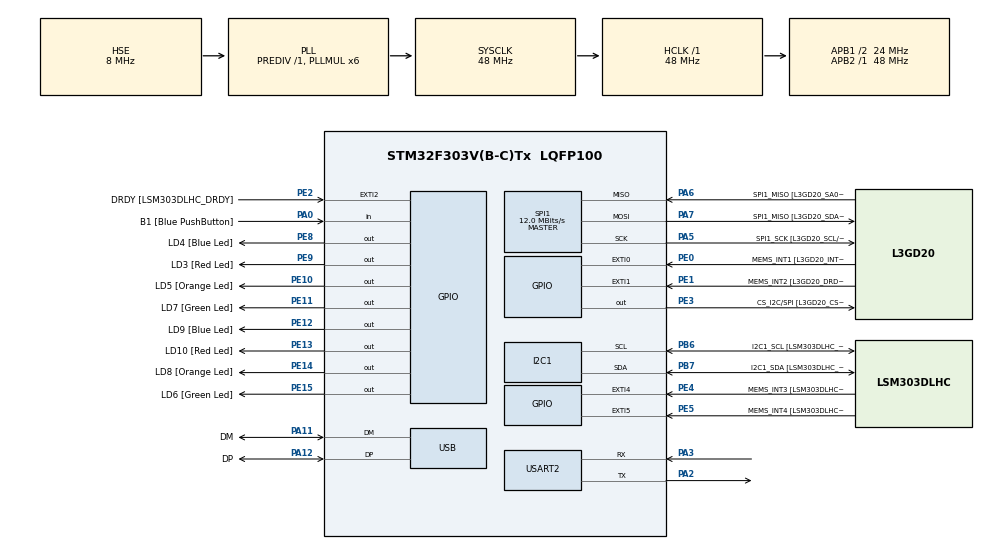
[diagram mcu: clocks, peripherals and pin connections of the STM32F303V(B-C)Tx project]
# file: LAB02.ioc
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I2C1.Timing=0x2000090E
I2C1.Timing-I2C=0x2000090E
Mcu.Family=STM32F3
Mcu.Name=STM32F303V(B-C)Tx
Mcu.Package=LQFP100
NVIC.PriorityGroup=NVIC_PRIORITYGROUP_0
PA0.GPIO_Label=B1 [Blue PushButton]
PA0.Signal=GPIO_Input
PA11.GPIO_Label=DM
PA11.Mode=Device
PA11.Signal=USB_DM
PA12.GPIO_Label=DP
PA12.Mode=Device
PA12.Signal=USB_DP
PA13.GPIO_Label=SWDIO
PA13.Mode=Serial_Wire
PA13.Signal=SYS_JTMS-SWDIO
PA14.GPIO_Label=SWCLK
PA14.Mode=Serial_Wire
PA14.Signal=SYS_JTCK-SWCLK
PA2.Mode=Asynchronous
PA2.Signal=USART2_TX
PA3.Mode=Asynchronous
PA3.Signal=USART2_RX
PA5.GPIO_Label=SPI1_SCK [L3GD20_SCL/SPC]
PA5.Mode=Full_Duplex_Master
PA5.Signal=SPI1_SCK
PA6.GPIO_Label=SPI1_MISO [L3GD20_SA0/SDO]
PA6.Mode=Full_Duplex_Master
PA6.Signal=SPI1_MISO
PA7.GPIO_Label=SPI1_MISO [L3GD20_SDA/SDI/SDO]
PA7.Mode=Full_Duplex_Master
PA7.Signal=SPI1_MOSI
PB3.GPIO_Label=SWO
PB3.Signal=SYS_JTDO-TRACESWO
PB6.GPIO_Label=I2C1_SCL [LSM303DLHC_SCL]
PB6.GPIO_Pu=GPIO_PULLUP
PB6.Mode=I2C
PB6.Signal=I2C1_SCL
PB7.GPIO_Label=I2C1_SDA [LSM303DLHC_SDA]
PB7.GPIO_Pu=GPIO_PULLUP
PB7.Mode=I2C
PB7.Signal=I2C1_SDA
PC14-OSC32_IN.GPIO_Label=OSC32_IN
PC14-OSC32_IN.Signal=RCC_OSC32_IN
PC15-OSC32_OUT.GPIO_Label=OSC32_OUT
PC15-OSC32_OUT.Signal=RCC_OSC32_OUT
PE0.GPIO_Label=MEMS_INT1 [L3GD20_INT1]
PE0.GPIO_ModeDefaultEXTI=GPIO_MODE_EVT_RISING
PE0.Signal=GPXTI0
PE1.GPIO_Label=MEMS_INT2 [L3GD20_DRDY/INT2]
PE1.GPIO_ModeDefaultEXTI=GPIO_MODE_EVT_RISING
PE1.Signal=GPXTI1
PE10.GPIO_Label=LD5 [Orange Led]
PE10.Signal=GPIO_Output
PE11.GPIO_Label=LD7 [Green Led]
PE11.Signal=GPIO_Output
PE12.GPIO_Label=LD9 [Blue Led]
PE12.Signal=GPIO_Output
PE13.GPIO_Label=LD10 [Red Led]
PE13.Signal=GPIO_Output
PE14.GPIO_Label=LD8 [Orange Led]
PE14.Signal=GPIO_Output
PE15.GPIO_Label=LD6 [Green Led]
PE15.Signal=GPIO_Output
PE2.GPIO_Label=DRDY [LSM303DLHC_DRDY]
PE2.GPIO_ModeDefaultEXTI=GPIO_MODE_EVT_RISING
PE2.Signal=GPXTI2
PE3.GPIO_Label=CS_I2C/SPI [L3GD20_CS_I2C/SPI]
PE3.Signal=GPIO_Output
PE4.GPIO_Label=MEMS_INT3 [LSM303DLHC_INT1]
PE4.GPIO_ModeDefaultEXTI=GPIO_MODE_EVT_RISING
PE4.Signal=GPXTI4
PE5.GPIO_Label=MEMS_INT4 [LSM303DLHC_INT2]
PE5.GPIO_ModeDefaultEXTI=GPIO_MODE_EVT_RISING
PE5.Signal=GPXTI5
PE8.GPIO_Label=LD4 [Blue Led]
PE8.Signal=GPIO_Output
PE9.GPIO_Label=LD3 [Red Led]
PE9.Signal=GPIO_Output
PF0-OSC_IN.GPIO_Label=OSC_IN
PF0-OSC_IN.Mode=HSE-External-Clock-Source
PF0-OSC_IN.Signal=RCC_OSC_IN
PF1-OSC_OUT.GPIO_Label=OSC_OUT
PF1-OSC_OUT.Signal=RCC_OSC_OUT
ProjectManager.HeapSize=0x200
ProjectManager.StackSize=0x400
ProjectManager.TargetToolchain=CMake
RCC.AHBFreq_Value=48000000
RCC.APB1CLKDivider=RCC_HCLK_DIV2
RCC.APB1Freq_Value=24000000
RCC.APB1TimFreq_Value=48000000
RCC.APB2Freq_Value=48000000
RCC.APB2TimFreq_Value=48000000
RCC.CortexFreq_Value=48000000
RCC.HCLKFreq_Value=48000000
RCC.HSE_VALUE=8000000
RCC.HSI_VALUE=8000000
RCC.LSE_VALUE=32768
RCC.PLLMUL=RCC_PLL_MUL6
RCC.SYSCLKFreq_VALUE=48000000
RCC.SYSCLKSourceVirtual=RCC_SYSCLKSOURCE_PLLCLK
RCC.USBFreq_Value=48000000
SPI1.BaudRatePrescaler=SPI_BAUDRATEPRESCALER_4
SPI1.BaudRatePrescaler-Full_Duplex_Master=SPI_BAUDRATEPRESCALER_2
SPI1.CalculateBaudRate=12.0 MBits/s
SPI1.CalculateBaudRate-Full_Duplex_Master=24.0 MBits/s
SPI1.Direction=SPI_DIRECTION_2LINES
SPI1.Mode=SPI_MODE_MASTER
SPI1.Mode-Full_Duplex_Master=SPI_MODE_MASTER
SPI1.VirtualType=VM_MASTER
USART2.VirtualMode-Asynchronous=VM_ASYNC
board=STM32F3DISCOVERY

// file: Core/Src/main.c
/* USER CODE BEGIN Header */
/**
  ******************************************************************************
  * @file           : main.c
  * @brief          : Main program body
  ******************************************************************************
  * @attention
  *
  * Copyright (c) 2026 STMicroelectronics.
  * All rights reserved.
  *
  * This software is licensed under terms that can be found in the LICENSE file
  * in the root directory of this software component.
  * If no LICENSE file comes with this software, it is provided AS-IS.
  *
  ******************************************************************************
  */
/* USER CODE END Header */
#include "main.h"
#include <math.h>
#include <stdint.h>
#include <sys/types.h>
#include "stdarg.h"
#include "stdio.h"
#include "stm32f3xx_hal.h"
#include "string.h"

I2C_HandleTypeDef hi2c1;

SPI_HandleTypeDef hspi1;

UART_HandleTypeDef huart2;

PCD_HandleTypeDef hpcd_USB_FS;

void SystemClock_Config(void);
static void MX_GPIO_Init(void);
static void MX_I2C1_Init(void);
static void MX_SPI1_Init(void);
static void MX_USART2_UART_Init(void);
static void MX_USB_PCD_Init(void);
/* USER CODE BEGIN PFP */
void myPrintf(const char *fmt, ...);
/* USER CODE END PFP */

int main(void)
{

  /* MCU Configuration--------------------------------------------------------*           /

  /* Reset of all peripherals, Initializes the Flash interface and the Systick. */
HAL_Init();

  /* Configure the system clock */
  SystemClock_Config();

  /* Initialize all configured peripherals */
  MX_GPIO_Init();
  MX_I2C1_Init();
  MX_SPI1_Init();
  MX_USART2_UART_Init();
  MX_USB_PCD_Init();

  /* Infinite loop */
  while (1)
  {
    /* USER CODE BEGIN 3 */
    // TASK 0: //
    // uint8_t TXData[] = "Hello World\r\n";
    // uint32_t Delay = 100;
    // HAL_UART_Transmit(&huart2,TXData, sizeof(TXData), Delay);
    // HAL_Delay(Delay);
    /* TASK 01*/
    // int x = 42;
    // float y = 3.14;
    // myPrintf("Value of x = %d, y = %.2f\r\n", x, y);
    /* TASK 02*/
    // uint32_t a = 2;
    // uint32_t b = 3;
    // uint32_t LHS = (a + b) * (a + b);
    // uint32_t RHS = (a*a) + 2*a*b + (b*b);
    // myPrintf("a = %d, b = %d\r\n", a, b);
    // myPrintf("LHS: %d\r\n", LHS);
    // myPrintf("RHS: %d\r\n", RHS);
    // if (LHS == RHS){
    //   myPrintf("Identity Verified: Yes \r\n");
    // }else{
    //   myPrintf("Identity Verified: No \r\n");
    // }
    /*TASK 03*/
    // char str[] = "Microcontrollers";
    // u_int64_t key = 10171;

    // for (uint8_t i = 0; i < sizeof(str); i++) str[i] += (key % 256);
    // myPrintf("Encrypted: ");
    // for (uint8_t i = 0; i < sizeof(str); i++) myPrintf("%c ", str[i]);
    // myPrintf("\n\r");
    // for (uint8_t i = 0; i < sizeof(str); i++) str[i] -= (key % 256);
    // myPrintf("Decrypted: %s\r\n", str);
    /*TASK 4*/
    // int mat_A[2][2] = {{1, 2}, {3, 4}};
    // int mat_B[2][2] = {{5, 6}, {7, 8}};
    // int mat_C[2][2] = {{0, 0}, {0, 0}};
    // for (int i = 0; i < 2; i++){
    //   for (int j = 0; j < 2; j++){
    //     for (int k = 0; k < 2; k++){
    //       mat_C[i][j] += mat_A[i][k] * mat_B[k][j];
    //     }
    //   }
    // }
    // myPrintf("Matrix A: \n\r");

    // for (int i = 0; i < 2; i++){
    //   for (int j = 0; j < 2; j++){
    //     myPrintf("%d ", mat_A[i][j]);
    //   }
    //   myPrintf("\n\r");
    // }
    // myPrintf("Matrix B: \n\r");
    // for (int i = 0; i < 2; i++){
    //   for (int j = 0; j < 2; j++){
    //     myPrintf("%d ", mat_B[i][j]);
    //   }
    //   myPrintf("\n\r");
    // }
    // myPrintf("Matrix C: \n\r");
    // for (int i = 0; i < 2; i++){
    //   for (int j = 0; j < 2; j++){
    //     myPrintf("%d ", mat_C[i][j]);
    //   }
    //   myPrintf("\n\r");
    // }
    /*TASK 5*/
    for (uint32_t i = 100; i < 1000; i++) {
      uint32_t hundred_val = i/100;
      uint32_t ten_val = (i%100)/10;
      uint32_t unit_val = (i%100)%10;
      if (i == (pow(hundred_val, 3) + pow(ten_val, 3) + pow(unit_val, 3))){
        myPrintf("%d\n\r", i);
      }
    }
    //l++;
  }
  /* USER CODE END 3 */
}

void SystemClock_Config(void)
{
  RCC_OscInitTypeDef RCC_OscInitStruct = {0};
  RCC_ClkInitTypeDef RCC_ClkInitStruct = {0};
  RCC_PeriphCLKInitTypeDef PeriphClkInit = {0};

  /** Initializes the RCC Oscillators according to the specified parameters
  * in the RCC_OscInitTypeDef structure.
  */
  RCC_OscInitStruct.OscillatorType = RCC_OSCILLATORTYPE_HSI|RCC_OSCILLATORTYPE_HSE;
  RCC_OscInitStruct.HSEState = RCC_HSE_BYPASS;
  RCC_OscInitStruct.HSEPredivValue = RCC_HSE_PREDIV_DIV1;
  RCC_OscInitStruct.HSIState = RCC_HSI_ON;
  RCC_OscInitStruct.HSICalibrationValue = RCC_HSICALIBRATION_DEFAULT;
  RCC_OscInitStruct.PLL.PLLState = RCC_PLL_ON;
  RCC_OscInitStruct.PLL.PLLSource = RCC_PLLSOURCE_HSE;
  RCC_OscInitStruct.PLL.PLLMUL = RCC_PLL_MUL6;
  if (HAL_RCC_OscConfig(&RCC_OscInitStruct) != HAL_OK)
  {
    Error_Handler();
  }

  /** Initializes the CPU, AHB and APB buses clocks
  */
  RCC_ClkInitStruct.ClockType = RCC_CLOCKTYPE_HCLK|RCC_CLOCKTYPE_SYSCLK
                              |RCC_CLOCKTYPE_PCLK1|RCC_CLOCKTYPE_PCLK2;
  RCC_ClkInitStruct.SYSCLKSource = RCC_SYSCLKSOURCE_PLLCLK;
  RCC_ClkInitStruct.AHBCLKDivider = RCC_SYSCLK_DIV1;
  RCC_ClkInitStruct.APB1CLKDivider = RCC_HCLK_DIV2;
  RCC_ClkInitStruct.APB2CLKDivider = RCC_HCLK_DIV1;

  if (HAL_RCC_ClockConfig(&RCC_ClkInitStruct, FLASH_LATENCY_1) != HAL_OK)
  {
    Error_Handler();
  }
  PeriphClkInit.PeriphClockSelection = RCC_PERIPHCLK_USB|RCC_PERIPHCLK_USART2
                              |RCC_PERIPHCLK_I2C1;
  PeriphClkInit.Usart2ClockSelection = RCC_USART2CLKSOURCE_PCLK1;
  PeriphClkInit.I2c1ClockSelection = RCC_I2C1CLKSOURCE_HSI;
  PeriphClkInit.USBClockSelection = RCC_USBCLKSOURCE_PLL;
  if (HAL_RCCEx_PeriphCLKConfig(&PeriphClkInit) != HAL_OK)
  {
    Error_Handler();
  }
}

static void MX_I2C1_Init(void)
{

  hi2c1.Instance = I2C1;
  hi2c1.Init.Timing = 0x2000090E;
  hi2c1.Init.OwnAddress1 = 0;
  hi2c1.Init.AddressingMode = I2C_ADDRESSINGMODE_7BIT;
  hi2c1.Init.DualAddressMode = I2C_DUALADDRESS_DISABLE;
  hi2c1.Init.OwnAddress2 = 0;
  hi2c1.Init.OwnAddress2Masks = I2C_OA2_NOMASK;
  hi2c1.Init.GeneralCallMode = I2C_GENERALCALL_DISABLE;
  hi2c1.Init.NoStretchMode = I2C_NOSTRETCH_DISABLE;
  if (HAL_I2C_Init(&hi2c1) != HAL_OK)
  {
    Error_Handler();
  }

  /** Configure Analogue filter
  */
  if (HAL_I2CEx_ConfigAnalogFilter(&hi2c1, I2C_ANALOGFILTER_ENABLE) != HAL_OK)
  {
    Error_Handler();
  }

  /** Configure Digital filter
  */
  if (HAL_I2CEx_ConfigDigitalFilter(&hi2c1, 0) != HAL_OK)
  {
    Error_Handler();
  }

}

static void MX_SPI1_Init(void)
{

  /* SPI1 parameter configuration*/
  hspi1.Instance = SPI1;
  hspi1.Init.Mode = SPI_MODE_MASTER;
  hspi1.Init.Direction = SPI_DIRECTION_2LINES;
  hspi1.Init.DataSize = SPI_DATASIZE_4BIT;
  hspi1.Init.CLKPolarity = SPI_POLARITY_LOW;
  hspi1.Init.CLKPhase = SPI_PHASE_1EDGE;
  hspi1.Init.NSS = SPI_NSS_SOFT;
  hspi1.Init.BaudRatePrescaler = SPI_BAUDRATEPRESCALER_4;
  hspi1.Init.FirstBit = SPI_FIRSTBIT_MSB;
  hspi1.Init.TIMode = SPI_TIMODE_DISABLE;
  hspi1.Init.CRCCalculation = SPI_CRCCALCULATION_DISABLE;
  hspi1.Init.CRCPolynomial = 7;
  hspi1.Init.CRCLength = SPI_CRC_LENGTH_DATASIZE;
  hspi1.Init.NSSPMode = SPI_NSS_PULSE_ENABLE;
  if (HAL_SPI_Init(&hspi1) != HAL_OK)
  {
    Error_Handler();
  }

}

static void MX_USART2_UART_Init(void)
{

  huart2.Instance = USART2;
  huart2.Init.BaudRate = 115200;
  huart2.Init.WordLength = UART_WORDLENGTH_8B;
  huart2.Init.StopBits = UART_STOPBITS_1;
  huart2.Init.Parity = UART_PARITY_NONE;
  huart2.Init.Mode = UART_MODE_TX_RX;
  huart2.Init.HwFlowCtl = UART_HWCONTROL_NONE;
  huart2.Init.OverSampling = UART_OVERSAMPLING_16;
  huart2.Init.OneBitSampling = UART_ONE_BIT_SAMPLE_DISABLE;
  huart2.AdvancedInit.AdvFeatureInit = UART_ADVFEATURE_NO_INIT;
  if (HAL_UART_Init(&huart2) != HAL_OK)
  {
    Error_Handler();
  }

}

static void MX_USB_PCD_Init(void)
{

  hpcd_USB_FS.Instance = USB;
  hpcd_USB_FS.Init.dev_endpoints = 8;
  hpcd_USB_FS.Init.speed = PCD_SPEED_FULL;
  hpcd_USB_FS.Init.phy_itface = PCD_PHY_EMBEDDED;
  hpcd_USB_FS.Init.low_power_enable = DISABLE;
  hpcd_USB_FS.Init.battery_charging_enable = DISABLE;
  if (HAL_PCD_Init(&hpcd_USB_FS) != HAL_OK)
  {
    Error_Handler();
  }

}

static void MX_GPIO_Init(void)
{
  GPIO_InitTypeDef GPIO_InitStruct = {0};

  /* GPIO Ports Clock Enable */
  __HAL_RCC_GPIOE_CLK_ENABLE();
  __HAL_RCC_GPIOC_CLK_ENABLE();
  __HAL_RCC_GPIOF_CLK_ENABLE();
  __HAL_RCC_GPIOA_CLK_ENABLE();
  __HAL_RCC_GPIOB_CLK_ENABLE();

  /*Configure GPIO pin Output Level */
  HAL_GPIO_WritePin(GPIOE, CS_I2C_SPI_Pin|LD4_Pin|LD3_Pin|LD5_Pin
                          |LD7_Pin|LD9_Pin|LD10_Pin|LD8_Pin
                          |LD6_Pin, GPIO_PIN_RESET);

  /*Configure GPIO pins : DRDY_Pin MEMS_INT3_Pin MEMS_INT4_Pin MEMS_INT1_Pin
                           MEMS_INT2_Pin */
  GPIO_InitStruct.Pin = DRDY_Pin|MEMS_INT3_Pin|MEMS_INT4_Pin|MEMS_INT1_Pin
                          |MEMS_INT2_Pin;
  GPIO_InitStruct.Mode = GPIO_MODE_EVT_RISING;
  GPIO_InitStruct.Pull = GPIO_NOPULL;
  HAL_GPIO_Init(GPIOE, &GPIO_InitStruct);

  /*Configure GPIO pins : CS_I2C_SPI_Pin LD4_Pin LD3_Pin LD5_Pin
                           LD7_Pin LD9_Pin LD10_Pin LD8_Pin
                           LD6_Pin */
  GPIO_InitStruct.Pin = CS_I2C_SPI_Pin|LD4_Pin|LD3_Pin|LD5_Pin
                          |LD7_Pin|LD9_Pin|LD10_Pin|LD8_Pin
                          |LD6_Pin;
  GPIO_InitStruct.Mode = GPIO_MODE_OUTPUT_PP;
  GPIO_InitStruct.Pull = GPIO_NOPULL;
  GPIO_InitStruct.Speed = GPIO_SPEED_FREQ_LOW;
  HAL_GPIO_Init(GPIOE, &GPIO_InitStruct);

  /*Configure GPIO pin : B1_Pin */
  GPIO_InitStruct.Pin = B1_Pin;
  GPIO_InitStruct.Mode = GPIO_MODE_INPUT;
  GPIO_InitStruct.Pull = GPIO_NOPULL;
  HAL_GPIO_Init(B1_GPIO_Port, &GPIO_InitStruct);

}

/* USER CODE BEGIN 4 */
void myPrintf(const char *fmt, ...)
{
  uint32_t Delay = 100;
  // TODO: Step 1 - Declare and initialize a character buffer .
  char buffer[100];
  // TODO: Step 2 - Initialize the variadic argument list.
  va_list args;
  va_start(args, fmt);
  // TODO: Step 3 - Format the final string using vsnprintf .
  vsnprintf(buffer, sizeof(buffer), fmt, args);
  va_end(args);
  // TODO: Step 4 - Transmit the string over UART using HAL_UART_Transmit .
  HAL_UART_Transmit(&huart2, (uint8_t *)buffer, strlen(buffer), HAL_MAX_DELAY);
  HAL_Delay(Delay);
}
/* USER CODE END 4 */

void Error_Handler(void)
{
  __disable_irq();
  while (1)
  {
  }
}
